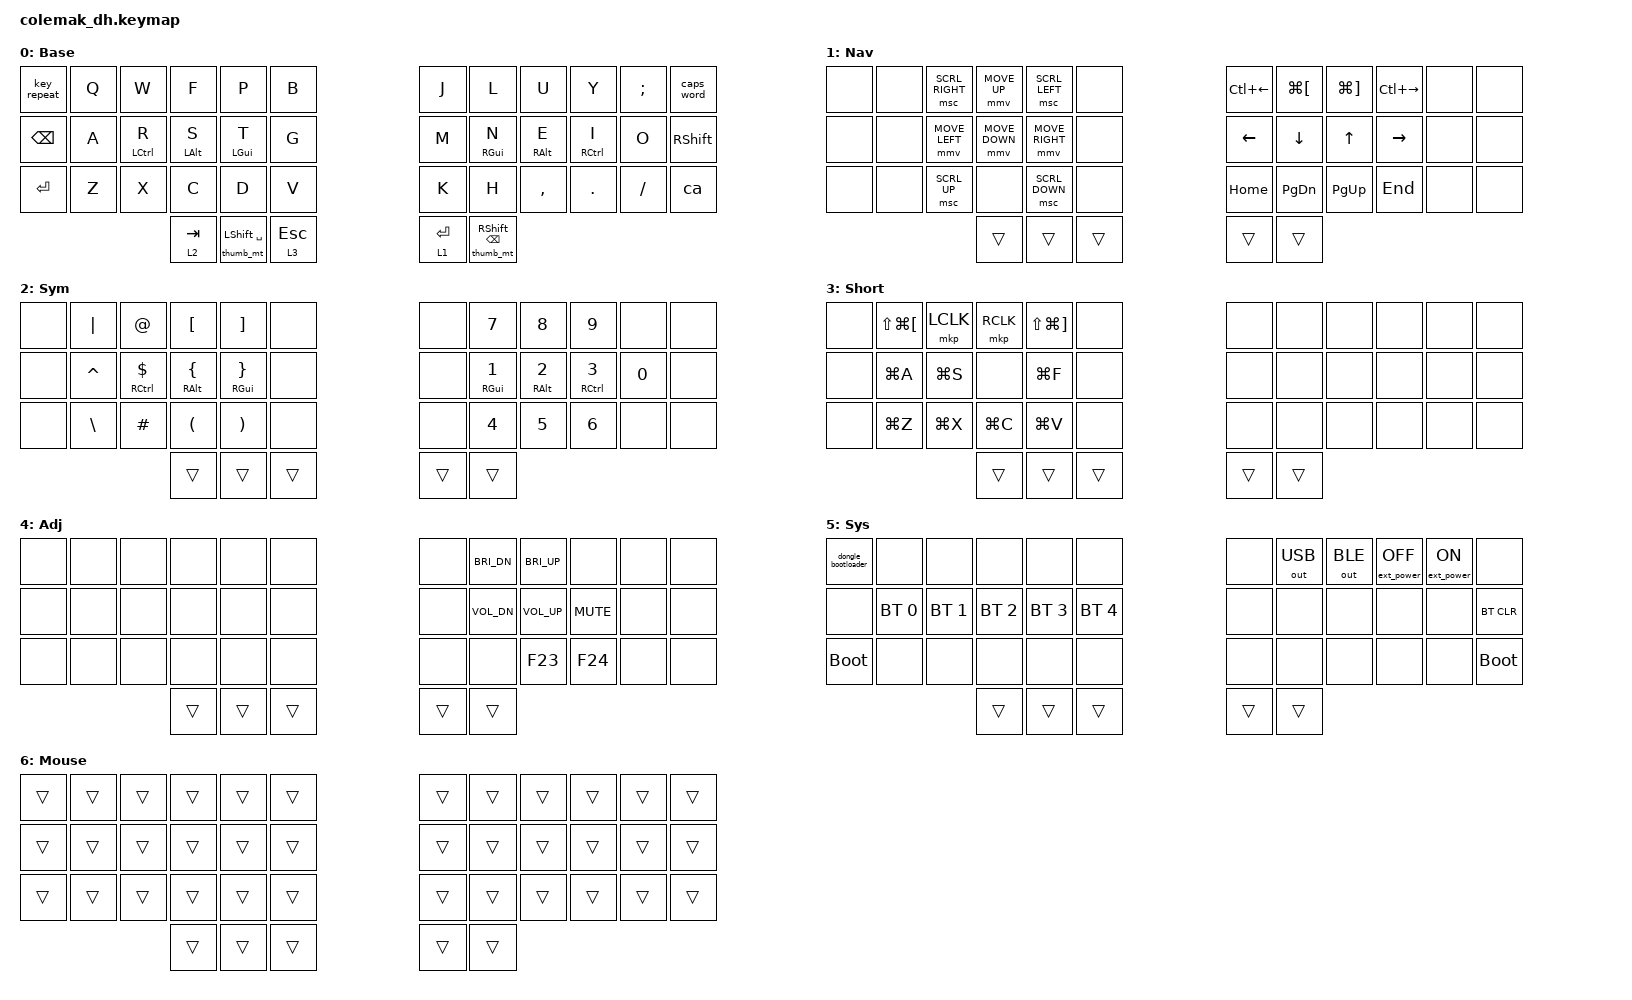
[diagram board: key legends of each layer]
/* upstream bindings and behaviors */
#include <behaviors.dtsi>
#include <dt-bindings/zmk/bt.h>
#include <dt-bindings/zmk/keys.h>
#include <dt-bindings/zmk/mouse.h>
#include <dt-bindings/zmk/outputs.h>
#include <behaviors/mouse_keys.dtsi>
#include <dt-bindings/zmk/ext_power.h>
#include <behaviors/dongle_reset.dtsi>

/* local overlays */
#include "keymap_features/prospector_brightness.dtsi"
#include "keymap_features/macros.dtsi"
#include "keymap_features/behaviors.dtsi"
#include "keymap_features/combos.dtsi"

/* --- CAFFEINE (key 35) ---
   Every INTERVAL the pointer moves one leg of a square (up, left, down,
   right in turn), so the loop closes every four ticks. TAP is the length of
   each leg; longer taps travel further because &mmv accelerates while held.
   Any keycode press turns caffeine off. mode = "sequence" traces the whole
   square per tick instead, for a subtler nudge. */
#define CAFFEINE_INTERVAL_MS 1000
#define CAFFEINE_TAP_MS      400

/ {
/* --- KEYMAP CONFIG --- */
// ╭──────┬──────┬──────┬──────┬──────┬──────╮  ╭──────┬──────┬──────┬──────┬──────┬──────╮
//    00     01     02     03    04      05        06     07     08     09     10     11
// ├──────┼──────┼──────┼──────┼──────┼──────┤  ├──────┼──────┼──────┼──────┼──────┼──────┤
//    12     13     14     15    16      17        18     19     20     21     22     23
// ├──────┼──────┼──────┼──────┼──────┼──────┤  ├──────┼──────┼──────┼──────┼──────┼──────┤
//    24     25     26     27    28      29        30     31     32     33     34     35
// ╰──────┴──────┴──────┼──────┼──────┼──────┤  ├──────┼──────┼──────┴──────┴──────┴──────╯
//                         36     37     38        39     40
//                      ╰──────┴──────┴──────╯  ╰──────┴──────╯
// #define BASE       0
// #define NAV        1
// #define SYM        2
// #define SHORTCUTS  3
// #define ADJ        4   (SHORTCUTS + NAV)
// #define SYSTEM     5   (SYM + NAV)
// #define AUTO_MOUSE 6   (auto-activated by trackball; suppressed during typing)

// This shared keymap builds for prospector and non-prospector firmwares.
// This stubs the key bindings that are contained in the prospector module
// so non-prospector firmware can build.
#ifndef CONFIG_SHIELD_PROSPECTOR_ADAPTER
    behaviors {
        /omit-if-no-ref/ pbl: prospector_brightness_stub {
            compatible = "zmk,behavior-macro-two-param";
            #binding-cells = <2>;
            bindings = <&none>;
        };
    };
#endif

    behaviors {
        ca: caffeine {
            compatible = "zmk,behavior-caffeine";
            #binding-cells = <0>;
            bindings = <&mmv MOVE_UP>, <&mmv MOVE_LEFT>,
                       <&mmv MOVE_DOWN>, <&mmv MOVE_RIGHT>;
            mode = "rotate";
            interval-ms = <CAFFEINE_INTERVAL_MS>;
            tap-ms = <CAFFEINE_TAP_MS>;
            cancel-on-keypress;
        };
    };

    conditional_layers {
        compatible = "zmk,conditional-layers";
        adj {
            if-layers = <3 1>;
            then-layer = <4>;
        };
        system {
            if-layers = <2 1>;
            then-layer = <5>;
        };
    };

    keymap {
        compatible = "zmk,keymap";
        BASE {
            display-name = "Base";
            bindings = <
// ╭────────────────────────┬────────────────────────┬────────────────────────┬────────────────────────┬────────────────────────┬────────────────────────╮                                                                                             ╭────────────────────────┬────────────────────────┬────────────────────────┬───────────────────────┬────────────────────────┬────────────────────────╮
    &key_repeat              &kp Q                    &kp W                    &kp F                    &kp P                    &kp B                                                                                                                  &kp J                    &kp L                    &kp U                    &kp Y                   &kp SEMI                 &caps_word
// ├────────────────────────┼────────────────────────┼────────────────────────┼────────────────────────┼────────────────────────┼────────────────────────┤                                                                                             ├────────────────────────┼────────────────────────┼────────────────────────┼───────────────────────┼────────────────────────┼────────────────────────┤
    &kp BSPC                 &kp A                    &ht_left LCTRL R         &ht_left LALT S          &ht_left LGUI T          &kp G                                                                                                                  &kp M                    &ht_right RGUI N         &ht_right RALT E         &ht_right RCTRL I       &kp O                    &kp RSHIFT
// ├────────────────────────┼────────────────────────┼────────────────────────┼────────────────────────┼────────────────────────┼────────────────────────┤                                                                                             ├────────────────────────┼────────────────────────┼────────────────────────┼───────────────────────┼────────────────────────┼────────────────────────┤
    &kp RET                  &kp Z                    &kp X                    &kp C                    &kp D                    &kp V                                                                                                                  &kp K                    &kp H                    &kp COMMA                &kp DOT                  &kp SLASH               &ca
// ╰────────────────────────┴────────────────────────┴────────────────────────┼────────────────────────┼────────────────────────┼────────────────────────┤                                                                                             ├────────────────────────┼────────────────────────┼────────────────────────┴───────────────────────┴────────────────────────┴────────────────────────╯
                                                                               &lt 2 TAB                &thumb_mt LSHIFT SPACE   &lt 3 ESC                                                                                                              &lt 1 RET                &thumb_mt RSHIFT BSPC
//                                                                            ╰────────────────────────┴────────────────────────┴────────────────────────╯                                                                                             ╰────────────────────────┴────────────────────────╯
            >;
        };


        NAV {
            display-name = "Nav";
            bindings = <
// ╭────────────────────────┬────────────────────────┬────────────────────────┬────────────────────────┬────────────────────────┬────────────────────────╮                                                                                             ╭────────────────────────┬────────────────────────┬────────────────────────┬───────────────────────┬────────────────────────┬────────────────────────╮
    &none                    &none                    &msc SCRL_RIGHT          &mmv MOVE_UP             &msc SCRL_LEFT           &none                                                                                                                  &kp LC(LEFT)             &kp LG(LBKT)             &kp LG(RBKT)            &kp LC(RIGHT)            &none                    &none
// ├────────────────────────┼────────────────────────┼────────────────────────┼────────────────────────┼────────────────────────┼────────────────────────┤                                                                                             ├────────────────────────┼────────────────────────┼────────────────────────┼───────────────────────┼────────────────────────┼────────────────────────┤
&none  &none  &mmv MOVE_LEFT   &mmv MOVE_DOWN  &mmv MOVE_RIGHT  &none    &kp LEFT      &kp DOWN    &kp UP      &kp RIGHT      &none  &none
// ├────────────────────────┼────────────────────────┼────────────────────────┼────────────────────────┼────────────────────────┼────────────────────────┤                                                                                             ├────────────────────────┼────────────────────────┼────────────────────────┼───────────────────────┼────────────────────────┼────────────────────────┤
&none  &none  &msc SCRL_UP     &none           &msc SCRL_DOWN   &none    &kp HOME      &kp PG_DN   &kp PG_UP   &kp END        &none  &none
// ╰────────────────────────┴────────────────────────┴────────────────────────┼────────────────────────┼────────────────────────┼────────────────────────┤                                                                                             ├────────────────────────┼────────────────────────┼────────────────────────┴───────────────────────┴────────────────────────┴────────────────────────╯
                                                                               &trans                   &trans                   &trans                                                                                                                 &trans                   &trans
//                                                                            ╰────────────────────────┴────────────────────────┴────────────────────────╯                                                                                             ╰────────────────────────┴────────────────────────╯
            >;
        };

        SYM {
            display-name = "Sym";
            bindings = <
// ╭────────────────────────┬────────────────────────┬────────────────────────┬────────────────────────┬────────────────────────┬────────────────────────╮                                                                                             ╭────────────────────────┬────────────────────────┬────────────────────────┬───────────────────────┬────────────────────────┬────────────────────────╮
    &none                    &kp PIPE                 &kp AT                   &kp LBKT                 &kp RBKT                 &none                                                                                                                  &none                    &kp N7                   &kp N8                   &kp N9                  &none                    &none
// ├────────────────────────┼────────────────────────┼────────────────────────┼────────────────────────┼────────────────────────┼────────────────────────┤                                                                                             ├────────────────────────┼────────────────────────┼────────────────────────┼───────────────────────┼────────────────────────┼────────────────────────┤
    &none                    &kp CARET                &ht_right RCTRL DLLR     &ht_right RALT LBRC      &ht_right RGUI RBRC      &none                                                                                                                  &none                    &ht_right RGUI N1        &ht_right RALT N2        &ht_right RCTRL N3       &kp N0                  &none
// ├────────────────────────┼────────────────────────┼────────────────────────┼────────────────────────┼────────────────────────┼────────────────────────┤                                                                                             ├────────────────────────┼────────────────────────┼────────────────────────┼───────────────────────┼────────────────────────┼────────────────────────┤
&none  &kp BSLH   &kp HASH             &kp LPAR             &kp RPAR              &none   &none  &kp N4              &kp N5             &kp N6               &none   &none
// ╰────────────────────────┴────────────────────────┴────────────────────────┼────────────────────────┼────────────────────────┼────────────────────────┤                                                                                             ├────────────────────────┼────────────────────────┼────────────────────────┴───────────────────────┴────────────────────────┴────────────────────────╯
                                                                               &trans                   &trans                   &trans                                                                                                                 &trans                   &trans
//                                                                            ╰────────────────────────┴────────────────────────┴────────────────────────╯                                                                                             ╰────────────────────────┴────────────────────────╯
            >;
        };



        SHORTCUTS {
            display-name = "Short";
            bindings = <
// ╭────────────────────────┬────────────────────────┬────────────────────────┬────────────────────────┬────────────────────────┬────────────────────────╮                                                                                             ╭────────────────────────┬────────────────────────┬────────────────────────┬───────────────────────┬────────────────────────┬────────────────────────╮
    &none   &kp LS(LG(LBKT))  &mkp LCLK   &mkp RCLK   &kp LS(LG(RBKT))  &none    &none   &none   &none   &none   &none   &none
// ├────────────────────────┼────────────────────────┼────────────────────────┼────────────────────────┼────────────────────────┼────────────────────────┤                                                                                             ├────────────────────────┼────────────────────────┼────────────────────────┼───────────────────────┼────────────────────────┼────────────────────────┤
    &none   &kp LG(A)          &kp LG(S)   &none       &kp LG(F)          &none    &none   &none   &none   &none   &none   &none
// ├────────────────────────┼────────────────────────┼────────────────────────┼────────────────────────┼────────────────────────┼────────────────────────┤                                                                                             ├────────────────────────┼────────────────────────┼────────────────────────┼───────────────────────┼────────────────────────┼────────────────────────┤
    &none   &kp LG(Z)          &kp LG(X)   &kp LG(C)   &kp LG(V)          &none    &none   &none   &none   &none   &none   &none
// ╰────────────────────────┴────────────────────────┴────────────────────────┼────────────────────────┼────────────────────────┼────────────────────────┤                                                                                             ├────────────────────────┼────────────────────────┼────────────────────────┴───────────────────────┴────────────────────────┴────────────────────────╯
                                          &trans       &trans             &trans   &trans  &trans
//                                                                            ╰────────────────────────┴────────────────────────┴────────────────────────╯                                                                                             ╰────────────────────────┴────────────────────────╯
            >;
        };


        ADJ {
            display-name = "Adj";
            bindings = <
// ╭────────────────────────┬────────────────────────┬────────────────────────┬────────────────────────┬────────────────────────┬────────────────────────╮                                                                                             ╭────────────────────────┬────────────────────────┬────────────────────────┬───────────────────────┬────────────────────────┬────────────────────────╮
&none  &none  &none  &none  &none  &none    &none  &kp C_BRI_DN  &kp C_BRI_UP  &none       &none  &none
// ├────────────────────────┼────────────────────────┼────────────────────────┼────────────────────────┼────────────────────────┼────────────────────────┤                                                                                             ├────────────────────────┼────────────────────────┼────────────────────────┼───────────────────────┼────────────────────────┼────────────────────────┤
&none  &none  &none  &none  &none  &none    &none  &kp C_VOL_DN  &kp C_VOL_UP  &kp C_MUTE  &none  &none
// ├────────────────────────┼────────────────────────┼────────────────────────┼────────────────────────┼────────────────────────┼────────────────────────┤                                                                                             ├────────────────────────┼────────────────────────┼────────────────────────┼───────────────────────┼────────────────────────┼────────────────────────┤
&none  &none  &none  &none  &none  &none    &none  &none         &kp F23       &kp F24     &none  &none
// ╰────────────────────────┴────────────────────────┴────────────────────────┼────────────────────────┼────────────────────────┼────────────────────────┤                                                                                             ├────────────────────────┼────────────────────────┼────────────────────────┴───────────────────────┴────────────────────────┴────────────────────────╯
                                                                               &trans                   &trans                   &trans                                                                                                                 &trans                   &trans
//                                                                            ╰────────────────────────┴────────────────────────┴────────────────────────╯                                                                                             ╰────────────────────────┴────────────────────────╯
            >;
        };

        SYSTEM {
            display-name = "Sys";
            bindings = <
// ╭────────────────────────┬────────────────────────┬────────────────────────┬────────────────────────┬────────────────────────┬────────────────────────╮                                                                                             ╭────────────────────────┬────────────────────────┬────────────────────────┬───────────────────────┬────────────────────────┬────────────────────────╮
    &dongle_bootloader       &none                    &none                    &none                    &none                    &none                                                                                                                  &none                    &out OUT_USB             &out OUT_BLE             &ext_power EP_OFF       &ext_power EP_ON         &none
// ├────────────────────────┼────────────────────────┼────────────────────────┼────────────────────────┼────────────────────────┼────────────────────────┤                                                                                             ├────────────────────────┼────────────────────────┼────────────────────────┼───────────────────────┼────────────────────────┼────────────────────────┤
    &none                    &bt BT_SEL 0             &bt BT_SEL 1             &bt BT_SEL 2             &bt BT_SEL 3             &bt BT_SEL 4                                                                                                           &none                    &none                    &none                    &none                   &none                    &bt BT_CLR
// ├────────────────────────┼────────────────────────┼────────────────────────┼────────────────────────┼────────────────────────┼────────────────────────┤                                                                                             ├────────────────────────┼────────────────────────┼────────────────────────┼───────────────────────┼────────────────────────┼────────────────────────┤
    &bootloader              &none                    &none                    &none                    &none                    &none                                                                                                                  &none                    &none                    &none                    &none                   &none                    &bootloader
// ╰────────────────────────┴────────────────────────┴────────────────────────┼────────────────────────┼────────────────────────┼────────────────────────┤                                                                                             ├────────────────────────┼────────────────────────┼────────────────────────┴───────────────────────┴────────────────────────┴────────────────────────╯
                                                                               &trans                   &trans                   &trans                                                                                                                 &trans                   &trans
//                                                                            ╰────────────────────────┴────────────────────────┴────────────────────────╯                                                                                             ╰────────────────────────┴────────────────────────╯
            >;
        };

        AUTO_MOUSE {
            display-name = "Mouse";
            bindings = <
// ╭────────────────────────┬────────────────────────┬────────────────────────┬────────────────────────┬────────────────────────┬────────────────────────╮                                                                                             ╭────────────────────────┬────────────────────────┬────────────────────────┬───────────────────────┬────────────────────────┬────────────────────────╮
&trans  &trans  &trans  &trans  &trans  &trans    &trans  &trans  &trans  &trans  &trans  &trans
// ├────────────────────────┼────────────────────────┼────────────────────────┼────────────────────────┼────────────────────────┼────────────────────────┤                                                                                             ├────────────────────────┼────────────────────────┼────────────────────────┼───────────────────────┼────────────────────────┼────────────────────────┤
&trans  &trans  &trans  &trans  &trans  &trans    &trans  &trans  &trans  &trans  &trans  &trans
// ├────────────────────────┼────────────────────────┼────────────────────────┼────────────────────────┼────────────────────────┼────────────────────────┤                                                                                             ├────────────────────────┼────────────────────────┼────────────────────────┼───────────────────────┼────────────────────────┼────────────────────────┤
&trans  &trans  &trans  &trans  &trans  &trans    &trans  &trans  &trans  &trans  &trans  &trans
// ╰────────────────────────┴────────────────────────┴────────────────────────┼────────────────────────┼────────────────────────┼────────────────────────┤                                                                                             ├────────────────────────┼────────────────────────┼────────────────────────┴───────────────────────┴────────────────────────┴────────────────────────╯
                                                                               &trans                   &trans                   &trans                                                                                                                 &trans                   &trans
//                                                                            ╰────────────────────────┴────────────────────────┴────────────────────────╯                                                                                             ╰────────────────────────┴────────────────────────╯
            >;
        };
    };
};
